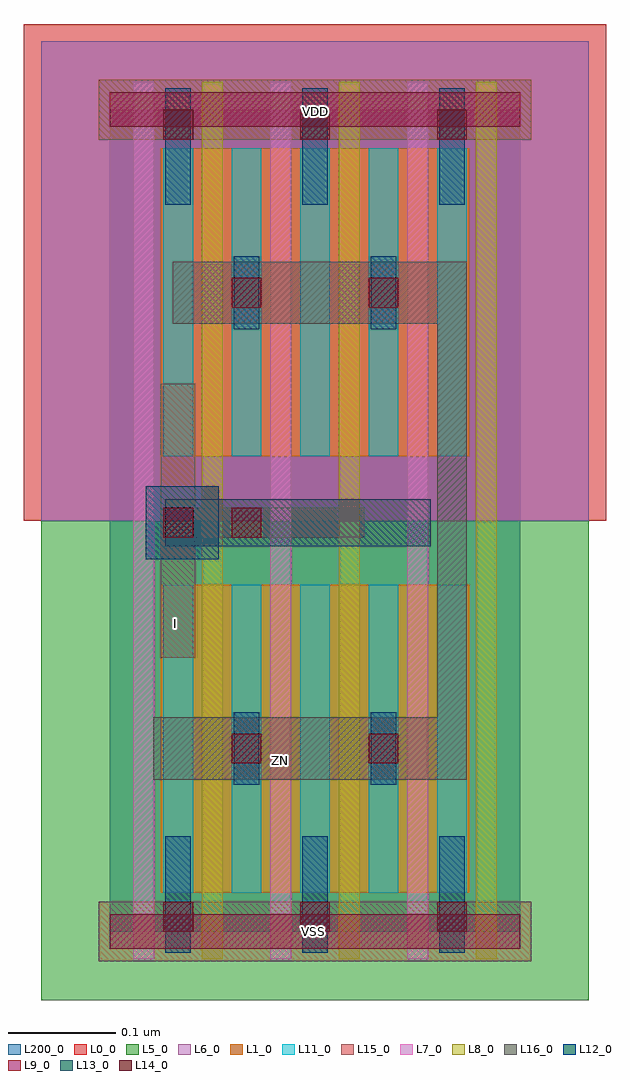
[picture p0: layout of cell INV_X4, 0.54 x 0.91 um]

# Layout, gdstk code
import gdstk
lib = gdstk.Library(unit=1e-6, precision=1e-09)
def R(c, l, rs):  # rectangles x0, y0, x1, y1
    for r in rs: c.add(gdstk.rectangle(r[:2], r[2:], *l))
def A(c, l, x, y, w, h, nx, ny, dx, dy):  # array of equal rectangles
    R(c, l, [(x+i*dx, y+j*dy, x+i*dx+w, y+j*dy+h) for i in range(nx) for j in range(ny)])
def P(c, l, *ps):  # polygons
    for p in ps: c.add(gdstk.Polygon(p, *l))
L0_0 = (0, 0)
L1_0 = (1, 0)
L5_0 = (5, 0)
L6_0 = (6, 0)
L7_0 = (7, 0)
L8_0 = (8, 0)
L9_0 = (9, 0)
L11_0 = (11, 0)
L12_0 = (12, 0)
L13_0 = (13, 0)
L14_0 = (14, 0)
L15_0 = (15, 0)
L16_0 = (16, 0)
L200_0 = (200, 0)

inv_x4 = lib.new_cell('INV_X4')
R(inv_x4, L0_0, [(-0.08,0.384,0.464,0.848)])
R(inv_x4, L1_0, [(0.048,0.036,0.336,0.324), (0.048,0.444,0.336,0.732)])
R(inv_x4, L5_0, [(-0.064,-0.064,0.448,0.384)])
R(inv_x4, L6_0, [(-0.064,0.384,0.448,0.832)])
A(inv_x4, L7_0, 0.022, -0.026, 0.02, 0.82, 3, 1, 0.128, 0)
A(inv_x4, L8_0, 0.086, -0.026, 0.02, 0.82, 3, 1, 0.128, 0)
R(inv_x4, L9_0, [(0,-0.016,0.384,0.016), (0,0.752,0.384,0.784)])
A(inv_x4, L11_0, 0.05, 0.036, 0.028, 0.288, 5, 2, 0.064, 0.408)
A(inv_x4, L12_0, 0.052, -0.02, 0.024, 0.109, 3, 2, 0.128, 0.699)
R(inv_x4, L12_0, [(0.116,0.137,0.14,0.205), (0.244,0.137,0.268,0.205), (0.034,0.348,0.102,0.416), (0.116,0.563,0.14,0.631), (0.244,0.563,0.268,0.631)])
R(inv_x4, L13_0, [(0.052,0.36,0.3,0.404)])
A(inv_x4, L14_0, 0.05, 0, 0.028, 0.028, 3, 2, 0.128, 0.74)
R(inv_x4, L14_0, [(0.114,0.157,0.142,0.185), (0.242,0.157,0.27,0.185), (0.05,0.368,0.078,0.396), (0.114,0.368,0.142,0.396), (0.114,0.583,0.142,0.611), (0.242,0.583,0.27,0.611)])
R(inv_x4, L15_0, [(-0.01,-0.028,0.394,0.028), (-0.01,0.74,0.394,0.796)])
P(inv_x4, L15_0, [(0.048,0.256),(0.08,0.256),(0.08,0.368),(0.238,0.368),(0.238,0.396),(0.08,0.396),(0.08,0.512),(0.048,0.512)])
P(inv_x4, L16_0, [(0.059,0.568),(0.306,0.568),(0.306,0.2),(0.041,0.2),(0.041,0.142),(0.334,0.142),(0.334,0.626),(0.059,0.626)])
R(inv_x4, L200_0, [(0,0,0.384,0.768)])
inv_x4.add(gdstk.Label('VSS', (0.191,0), layer=15, texttype=20))
inv_x4.add(gdstk.Label('I', (0.062,0.288), layer=15, texttype=20))
inv_x4.add(gdstk.Label('VDD', (0.192,0.766), layer=15, texttype=20))
inv_x4.add(gdstk.Label('ZN', (0.16,0.16), layer=16, texttype=20))

lib.write_gds('INV_X4.gds')
